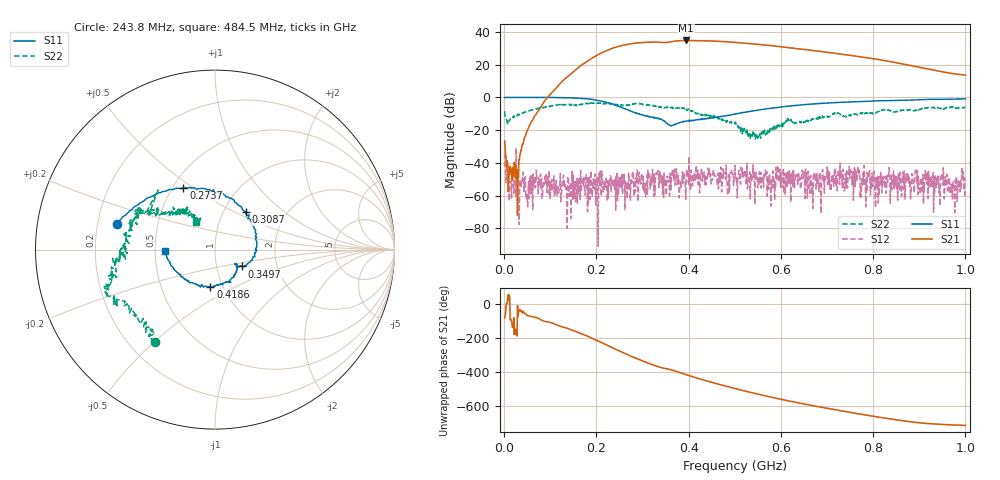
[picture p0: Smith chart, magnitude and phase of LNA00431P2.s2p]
! Created with skrf 1.9.0 (http://scikit-rf.org).
# Hz S RI R 50.0
!freq ReS11 ImS11 ReS21 ImS21 ReS12 ImS12 ReS22 ImS22
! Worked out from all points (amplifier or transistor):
!   1001 points, 1 MHz to 1 GHz, reference 50 ohm
!   highest |S21| = 34.8 dB at 394.6 MHz (marker M1)
!   |S21| within 3 dB of that: 256.6 MHz to 572.8 MHz (316.2 MHz wide, 76.3 % of centre)
!   unconditionally stable (mu >= 1): 9.565 MHz to 36.39 MHz; 206 MHz to 400.3 MHz; 400.9 MHz to end of sweep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
!   at 166.8 MHz: K = 2.87, MAG = 31.1 dB, |S12| = -57.7 dB
!   at 500.5 MHz: K = 1.26, MAG = 34.6 dB, |S12| = -41.7 dB
!   at 1 GHz: K = 11.31, MAG = 22.1 dB, |S12| = -57.5 dB
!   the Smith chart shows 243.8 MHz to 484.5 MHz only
!   S11 on the Smith chart (normalised r, x): 243.8 MHz: 0.28, +0.12; 273.7 MHz: 0.57, +0.46; 308.7 MHz: 1.27, +0.57; 349.7 MHz: 1.32, -0.26; 418.6 MHz: 0.87, -0.38; 484.5 MHz: 0.56, -0.01
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1000000  0.9803 0.002  0.00561 -0.0465  -0.0191 -0.00502  0.2816 0.2567
1.08892e8  0.5348 -0.8392  -0.7826 -1.497  0.000237 0.000987  0.4071 -0.3748
1.67833e8  -0.2108 -0.9084  -9.698 -0.666  -0.00172 -0.00186  0.0135 -0.6298
2.09791e8  -0.6612 -0.4086  -15.65 16.28  -3.4e-06 -0.00121  -0.2148 -0.6174
2.43757e8  -0.5447 0.1449  0.2072 35.03  -0.000733 -0.000757  -0.3345 -0.5125
2.73727e8  -0.1758 0.3426  26.35 34.51  -0.000678 0.000119  -0.5466 -0.313
3.08692e8  0.1723 0.2087  47.2 11.83  -0.000521 0.00228  -0.5633 -0.1425
3.34666e8  0.2236 -0.0203  47.8 -9.24  0.00343 0.00265  -0.5106 -0.0292
3.49651e8  0.1486 -0.0939  44.41 -17.37  0.00329 0.000394  -0.4974 0.0506
3.71629e8  0.1217 -0.0897  42.47 -31.59  0.00054 0.00208  -0.4201 0.1858
3.94606e8  0.0834 -0.1701  29.42 -46.61  0.00148 0.00299  -0.3837 0.2115
4.18582e8  -0.0259 -0.2062  11.28 -53.29  0.00184 0.00276  -0.2444 0.2061
4.49551e8  -0.1734 -0.1607  -11.48 -51.73  0.00188 0.00168  -0.1599 0.202
4.84516e8  -0.2809 -0.00815  -30.95 -39.48  0.000992 -0.000166  -0.1077 0.1538
5.005e8  -0.3033 0.0805  -36.85 -31.26  0.00271 0.00779  -0.0615 0.1438
5.4046e8  -0.2511 0.2982  -41.93 -10.37  0.00338 0.000157  -0.0544 0.0469
5.88412e8  -0.0683 0.48  -35.59 10.36  0.000682 0.00159  -0.1074 -0.0439
6.25375e8  0.1099 0.5472  -25.58 19.34  0.00296 -0.00521  -0.1622 -0.0734
6.67333e8  0.3159 0.5401  -13.73 23.5  0.00218 -0.000354  -0.2185 -0.0382
7.53247e8  0.6271 0.3753  3.77 18.58  -0.0027 -0.00414  -0.2807 0.0169
8.34166e8  0.786 0.1409  9.321 8.602  -0.00577 -0.0043  -0.3965 0.0666
1e9  0.8143 -0.3914  4.832 0.2517  3.96e-05 -0.00133  -0.2266 0.4316
